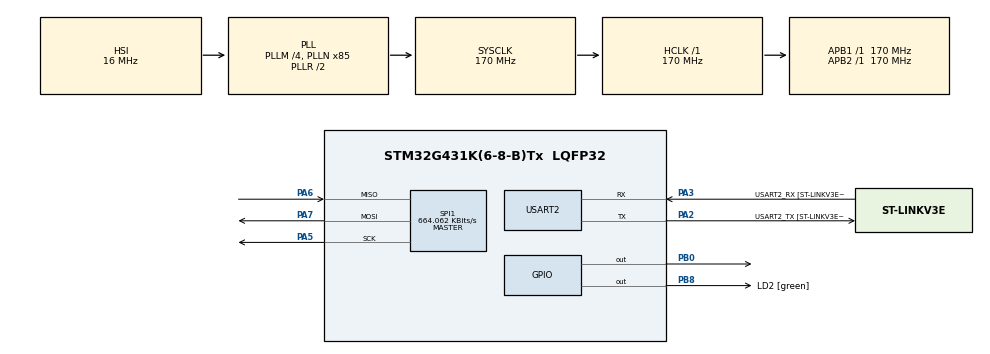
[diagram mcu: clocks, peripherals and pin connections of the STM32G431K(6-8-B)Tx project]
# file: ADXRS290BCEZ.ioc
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Mcu.Family=STM32G4
Mcu.Name=STM32G431K(6-8-B)Tx
Mcu.Package=LQFP32
NVIC.PriorityGroup=NVIC_PRIORITYGROUP_4
PA13.GPIO_Label=T_SWDIO
PA13.Mode=Serial_Wire
PA13.Signal=SYS_JTMS-SWDIO
PA14.GPIO_Label=T_SWCLK
PA14.Mode=Serial_Wire
PA14.Signal=SYS_JTCK-SWCLK
PA2.GPIO_Label=USART2_TX [ST-LINKV3E_VCP_RX]
PA2.Mode=Asynchronous
PA2.Signal=USART2_TX
PA3.GPIO_Label=USART2_RX [ST-LINKV3E_VCP_TX]
PA3.Mode=Asynchronous
PA3.Signal=USART2_RX
PA5.Mode=Full_Duplex_Master
PA5.Signal=SPI1_SCK
PA6.Mode=Full_Duplex_Master
PA6.Signal=SPI1_MISO
PA7.Mode=Full_Duplex_Master
PA7.Signal=SPI1_MOSI
PB0.Signal=GPIO_Output
PB3.GPIO_Label=T_SWO
PB3.Signal=SYS_JTDO-SWO
PB8-BOOT0.GPIO_Label=LD2 [green]
PB8-BOOT0.Signal=GPIO_Output
ProjectManager.HeapSize=0x200
ProjectManager.StackSize=0x400
ProjectManager.TargetToolchain=STM32CubeIDE
RCC.ADC12Freq_Value=170000000
RCC.AHBFreq_Value=170000000
RCC.APB1Freq_Value=170000000
RCC.APB1TimFreq_Value=170000000
RCC.APB2Freq_Value=170000000
RCC.APB2TimFreq_Value=170000000
RCC.CortexFreq_Value=170000000
RCC.EXTERNAL_CLOCK_VALUE=12288000
RCC.HCLKFreq_Value=170000000
RCC.HSE_VALUE=8000000
RCC.HSI48_VALUE=48000000
RCC.HSI_VALUE=16000000
RCC.LSE_VALUE=32768
RCC.PLLM=RCC_PLLM_DIV4
RCC.PLLN=85
RCC.SYSCLKFreq_VALUE=170000000
RCC.SYSCLKSource=RCC_SYSCLKSOURCE_PLLCLK
RCC.USBFreq_Value=170000000
RCC.VCOOutputFreq_Value=340000000
SPI1.BaudRatePrescaler=SPI_BAUDRATEPRESCALER_256
SPI1.CLKPhase=SPI_PHASE_2EDGE
SPI1.CLKPolarity=SPI_POLARITY_HIGH
SPI1.CalculateBaudRate=664.062 KBits/s
SPI1.DataSize=SPI_DATASIZE_8BIT
SPI1.Direction=SPI_DIRECTION_2LINES
SPI1.Mode=SPI_MODE_MASTER
SPI1.VirtualType=VM_MASTER
USART2.VirtualMode-Asynchronous=VM_ASYNC
USART2.WordLength=WORDLENGTH_8B
board=NUCLEO-G431KB

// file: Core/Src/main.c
/* USER CODE BEGIN Header */
/**
  ******************************************************************************
  * @file           : main.c
  * @brief          : Main program body
  ******************************************************************************
  * @attention
  *
  * Copyright (c) 2023 STMicroelectronics.
  * All rights reserved.
  *
  * This software is licensed under terms that can be found in the LICENSE file
  * in the root directory of this software component.
  * If no LICENSE file comes with this software, it is provided AS-IS.
  *
  ******************************************************************************
  */
/* USER CODE END Header */
#include "main.h"

/* USER CODE BEGIN Includes */
#include <string.h>
#include <stdio.h>
#include <math.h>
#include <stdlib.h>
/* USER CODE END Includes */

/* USER CODE BEGIN PD */
#define ADXRS_X_LOW 0x08
#define ADXRS_Y_LOW 0x0a

/* USER CODE END PD */

SPI_HandleTypeDef hspi1;

UART_HandleTypeDef huart2;

void SystemClock_Config(void);
static void MX_GPIO_Init(void);
static void MX_USART2_UART_Init(void);
static void MX_SPI1_Init(void);
void UART_PRINT_VAL(double value);
void UART_PRINT_TEXT(uint8_t* MSG);
void ADXRS_INIT(void);
int ADXRS_GET_DATA(uint8_t addr, uint16_t dataSize);

int main(void)
{

  /* MCU Configuration--------------------------------------------------------*/

  /* Reset of all peripherals, Initializes the Flash interface and the Systick. */
  HAL_Init();

  /* Configure the system clock */
  SystemClock_Config();

  /* Initialize all configured peripherals */
  MX_GPIO_Init();
  MX_USART2_UART_Init();
  MX_SPI1_Init();
  /* USER CODE BEGIN 2 */
int ADXRS_x_gyro = 0;
int ADXRS_y_gyro = 0;
double ADXRS_x_gyro_ref = 0;
double ADXRS_y_gyro_ref = 0;

ADXRS_INIT();

  /* USER CODE END 2 */

  /* Infinite loop */
  /* USER CODE BEGIN WHILE */
  while (1)
  {
	  ADXRS_x_gyro = ADXRS_GET_DATA(ADXRS_X_LOW, 2);
	  ADXRS_x_gyro_ref = ADXRS_x_gyro;
	  UART_PRINT_VAL(ADXRS_x_gyro_ref);
	  UART_PRINT_TEXT("\n");
	  HAL_Delay(110);
    /* USER CODE END WHILE */

  }
}

void SystemClock_Config(void)
{
  RCC_OscInitTypeDef RCC_OscInitStruct = {0};
  RCC_ClkInitTypeDef RCC_ClkInitStruct = {0};

  /** Configure the main internal regulator output voltage
  */
  HAL_PWREx_ControlVoltageScaling(PWR_REGULATOR_VOLTAGE_SCALE1_BOOST);

  /** Initializes the RCC Oscillators according to the specified parameters
  * in the RCC_OscInitTypeDef structure.
  */
  RCC_OscInitStruct.OscillatorType = RCC_OSCILLATORTYPE_HSI;
  RCC_OscInitStruct.HSIState = RCC_HSI_ON;
  RCC_OscInitStruct.HSICalibrationValue = RCC_HSICALIBRATION_DEFAULT;
  RCC_OscInitStruct.PLL.PLLState = RCC_PLL_ON;
  RCC_OscInitStruct.PLL.PLLSource = RCC_PLLSOURCE_HSI;
  RCC_OscInitStruct.PLL.PLLM = RCC_PLLM_DIV4;
  RCC_OscInitStruct.PLL.PLLN = 85;
  RCC_OscInitStruct.PLL.PLLP = RCC_PLLP_DIV2;
  RCC_OscInitStruct.PLL.PLLQ = RCC_PLLQ_DIV2;
  RCC_OscInitStruct.PLL.PLLR = RCC_PLLR_DIV2;
  if (HAL_RCC_OscConfig(&RCC_OscInitStruct) != HAL_OK)
  {
    Error_Handler();
  }

  /** Initializes the CPU, AHB and APB buses clocks
  */
  RCC_ClkInitStruct.ClockType = RCC_CLOCKTYPE_HCLK|RCC_CLOCKTYPE_SYSCLK
                              |RCC_CLOCKTYPE_PCLK1|RCC_CLOCKTYPE_PCLK2;
  RCC_ClkInitStruct.SYSCLKSource = RCC_SYSCLKSOURCE_PLLCLK;
  RCC_ClkInitStruct.AHBCLKDivider = RCC_SYSCLK_DIV1;
  RCC_ClkInitStruct.APB1CLKDivider = RCC_HCLK_DIV1;
  RCC_ClkInitStruct.APB2CLKDivider = RCC_HCLK_DIV1;

  if (HAL_RCC_ClockConfig(&RCC_ClkInitStruct, FLASH_LATENCY_4) != HAL_OK)
  {
    Error_Handler();
  }
}

static void MX_SPI1_Init(void)
{

  /* SPI1 parameter configuration*/
  hspi1.Instance = SPI1;
  hspi1.Init.Mode = SPI_MODE_MASTER;
  hspi1.Init.Direction = SPI_DIRECTION_2LINES;
  hspi1.Init.DataSize = SPI_DATASIZE_8BIT;
  hspi1.Init.CLKPolarity = SPI_POLARITY_HIGH;
  hspi1.Init.CLKPhase = SPI_PHASE_2EDGE;
  hspi1.Init.NSS = SPI_NSS_SOFT;
  hspi1.Init.BaudRatePrescaler = SPI_BAUDRATEPRESCALER_256;
  hspi1.Init.FirstBit = SPI_FIRSTBIT_MSB;
  hspi1.Init.TIMode = SPI_TIMODE_DISABLE;
  hspi1.Init.CRCCalculation = SPI_CRCCALCULATION_DISABLE;
  hspi1.Init.CRCPolynomial = 7;
  hspi1.Init.CRCLength = SPI_CRC_LENGTH_DATASIZE;
  hspi1.Init.NSSPMode = SPI_NSS_PULSE_DISABLE;
  if (HAL_SPI_Init(&hspi1) != HAL_OK)
  {
    Error_Handler();
  }

}

static void MX_USART2_UART_Init(void)
{

  huart2.Instance = USART2;
  huart2.Init.BaudRate = 115200;
  huart2.Init.WordLength = UART_WORDLENGTH_8B;
  huart2.Init.StopBits = UART_STOPBITS_1;
  huart2.Init.Parity = UART_PARITY_NONE;
  huart2.Init.Mode = UART_MODE_TX_RX;
  huart2.Init.HwFlowCtl = UART_HWCONTROL_NONE;
  huart2.Init.OverSampling = UART_OVERSAMPLING_16;
  huart2.Init.OneBitSampling = UART_ONE_BIT_SAMPLE_DISABLE;
  huart2.Init.ClockPrescaler = UART_PRESCALER_DIV1;
  huart2.AdvancedInit.AdvFeatureInit = UART_ADVFEATURE_NO_INIT;
  if (HAL_UART_Init(&huart2) != HAL_OK)
  {
    Error_Handler();
  }
  if (HAL_UARTEx_SetTxFifoThreshold(&huart2, UART_TXFIFO_THRESHOLD_1_8) != HAL_OK)
  {
    Error_Handler();
  }
  if (HAL_UARTEx_SetRxFifoThreshold(&huart2, UART_RXFIFO_THRESHOLD_1_8) != HAL_OK)
  {
    Error_Handler();
  }
  if (HAL_UARTEx_DisableFifoMode(&huart2) != HAL_OK)
  {
    Error_Handler();
  }

}

static void MX_GPIO_Init(void)
{
  GPIO_InitTypeDef GPIO_InitStruct = {0};

  /* GPIO Ports Clock Enable */
  __HAL_RCC_GPIOA_CLK_ENABLE();
  __HAL_RCC_GPIOB_CLK_ENABLE();

  /*Configure GPIO pin Output Level */
  HAL_GPIO_WritePin(GPIOB, GPIO_PIN_0|LD2_Pin, GPIO_PIN_RESET);

  /*Configure GPIO pins : PB0 LD2_Pin */
  GPIO_InitStruct.Pin = GPIO_PIN_0|LD2_Pin;
  GPIO_InitStruct.Mode = GPIO_MODE_OUTPUT_PP;
  GPIO_InitStruct.Pull = GPIO_NOPULL;
  GPIO_InitStruct.Speed = GPIO_SPEED_FREQ_LOW;
  HAL_GPIO_Init(GPIOB, &GPIO_InitStruct);

}

/* USER CODE BEGIN 4 */
void UART_PRINT_VAL(double value){
    char total[50];
    char temp[10];
    if(value < 0){
       UART_PRINT_TEXT("-");
    }
    sprintf(total, "%i", abs((int)value));
    strcat(total, ".");
    double currentVal = (value - (int) value);
    for(int a=0;a<6;a++){
        currentVal *= 10;
        sprintf(temp, "%i", abs((int)currentVal));
        strcat(total, temp);
        currentVal -= (int)currentVal;
    }
    HAL_UART_Transmit(&huart2, total, strlen(total), 100);
}
void UART_PRINT_TEXT(uint8_t* MSG){
	HAL_UART_Transmit(&huart2, MSG, strlen(MSG), 100);
}
void ADXRS_INIT(void){
	uint8_t POWER_CTL = 0x10;
	uint8_t BAND_PASS = 0x11;
	uint8_t data1[2] = {POWER_CTL, 0x02};
	uint8_t data2[2] = {BAND_PASS, 0x07};
	HAL_GPIO_WritePin(GPIOB, GPIO_PIN_0, GPIO_PIN_RESET);
	HAL_SPI_Transmit(&hspi1, data1, 2, 100); // enable measurement mode (from standby)
	HAL_SPI_Transmit(&hspi1, data2, 2, 100); // set low-pass filter to 20Hz, high-pass filter to all-pass
	HAL_GPIO_WritePin(GPIOB, GPIO_PIN_0, GPIO_PIN_SET);
}
int ADXRS_GET_DATA(uint8_t addr, uint16_t dataSize){
	int val = 0;
	uint16_t value = 0;
	uint8_t sendData[1] = {0x80 | addr};
	uint8_t receiveData[2];
	HAL_GPIO_WritePin(GPIOB, GPIO_PIN_0, GPIO_PIN_RESET);
	HAL_SPI_Transmit(&hspi1, sendData, 1, 100);
	HAL_SPI_Receive(&hspi1, receiveData, 2, 100);
	HAL_GPIO_WritePin(GPIOB, GPIO_PIN_0, GPIO_PIN_SET);
	value = (receiveData[1] << 8 | receiveData[0]);
	if(value > 0x7fff){
		value = value - 0x01;
		value = ~value;
		val = -value;
	}
	else{
		val = value;
	}
	return val;
}
/* USER CODE END 4 */

void Error_Handler(void)
{
  __disable_irq();
  while (1)
  {
  }
}
